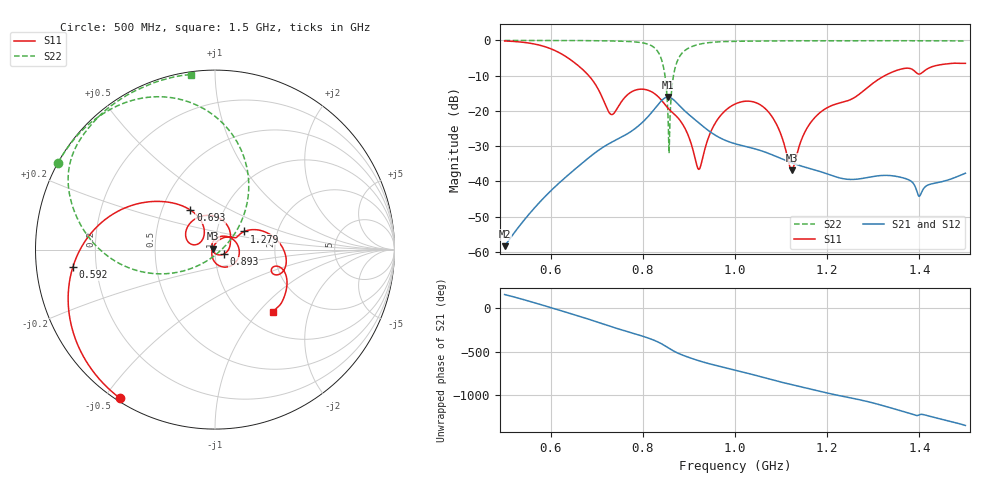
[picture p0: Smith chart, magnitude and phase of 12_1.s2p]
! TOUCHSTONE file generated by CST MICROWAVE STUDIO
! Date and time: Fri Oct  2 18:52:54 2020
! Project name: Scenario_1_Free_Space_out_of_line.cst
! Parameters = {Lambda=346.42; Step_1=17.321; dy1=156.889; dx1=173; L_HA=400; MT=2.54; Rad_Dielectric=30; Rad_Lower=7.3; Rad_Upper=30; a_HA=580; a_WG=246; b_HA=500; b_WG=121; c_HA=0; c_WG=187; d_feed=85; h_feed=15; h_lower=18; h_upper=40}
! Header version: 2018
! Port assignment regex: !\s*Touchstone port\s*([0-9]+)\s*=\s*(CST MWS port|CST DS port)\s*([0-9]+|Zmin|Zmax)\s*\(\"(.*)\"\)(\s*mode\s*([0-9]+))?.*
! Touchstone port assignment:
! Touchstone port 1 = CST MWS port 1 ("")
! Touchstone port 2 = CST MWS port 2 ("")
# GHz S DB R 50
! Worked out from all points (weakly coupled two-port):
!   1003 points, 500 MHz to 1.5 GHz, reference 50 ohm
!   highest |S21| = -16.07 dB at 854 MHz (marker M1); lowest = -58.4 dB at 500 MHz (marker M2)
!   lowest |S11| = -36.9 dB at 1.123 GHz (marker M3), VSWR 1.03, Z = 48.7 + j0.425 ohm
!   |S11| at or under -10 dB: 682.7 MHz to 1.325 GHz (642.2 MHz wide, 64 % of centre)
!   |S22| runs from -32.0 to 0.0 dB; largest |S21 - S12| = 3.9e-06
!   S11 on the Smith chart (normalised r, x): 500 MHz: 0.01, -0.55; 592 MHz: 0.11, -0.06; 693 MHz: 0.69, +0.33; 893 MHz: 1.10, -0.06; 1.279 GHz: 1.36, +0.29; 1.5 GHz: 1.34, -1.20
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0.5  -0.15 -122.6  -58.39 154.2  -58.39 154.2  -0.01 151.1
0.592  -1.97 -173.1  -43.75 17.7  -43.75 17.7  -0.02 144.7
0.667  -7.96 137.9  -34.98 -102.6  -34.98 -102.6  -0.04 138.3
0.693  -11.70 121.9  -32.22 -146.3  -32.22 -146.3  -0.07 135.5
0.732  -21.04 144.2  -28.92 145.7  -28.92 145.7  -0.15 130.5
0.783  -14.14 142.9  -25.03 64.0  -25.03 64.0  -0.42 119.5
0.834  -16.05 67.3  -18.07 -32.0  -18.07 -32.0  -3.48 83.3
0.846  -17.86 48.7  -16.48 -66.4  -16.48 -66.4  -8.38 60.5
0.854  -19.14 38.2  -16.07 -92.3  -16.07 -92.3  -19.45 33.4
0.859  -19.83 32.0  -16.19 -108.7  -16.19 -108.7  -21.85 -126.7
0.871  -21.27 14.6  -17.37 -144.0  -17.37 -144.0  -7.32 -163.5
0.893  -25.36 -28.2  -20.24 167.0  -20.24 167.0  -2.67 171.9
0.922  -36.58 -154.3  -23.46 115.2  -23.46 115.2  -1.10 157.7
0.956  -23.71 81.2  -26.80 65.6  -26.80 65.6  -0.48 147.9
1  -18.06 17.2  -29.32 9.4  -29.32 9.4  -0.25 140.2
1.072  -20.21 -72.0  -32.02 -90.4  -32.02 -90.4  -0.15 132.3
1.123  -36.88 162.3  -34.71 -157.7  -34.71 -157.7  -0.11 127.8
1.167  -22.83 58.8  -36.53 148.1  -36.53 148.1  -0.10 124.2
1.279  -14.29 31.7  -39.11 19.1  -39.11 19.1  -0.09 115.6
1.334  -9.40 11.1  -38.33 -57.6  -38.33 -57.6  -0.09 111.5
1.4  -9.55 -18.6  -44.24 -143.1  -44.24 -143.1  -0.10 106.3
1.5  -6.50 -47.1  -37.70 94.8  -37.70 94.8  -0.14 97.8
